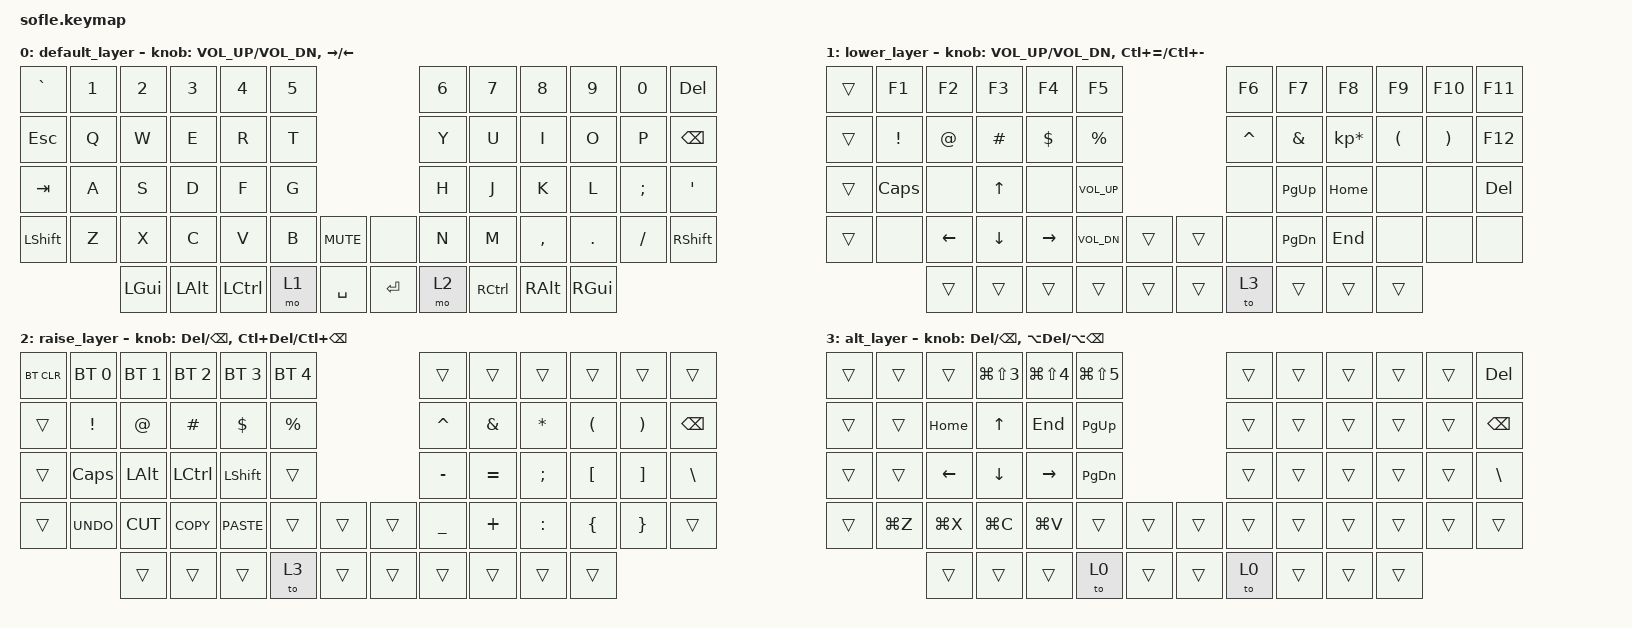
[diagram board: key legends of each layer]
/*
 * Copyright (c) 2020 The ZMK Contributors
 *
 * SPDX-License-Identifier: MIT
 *
 */

#include <behaviors.dtsi>
#include <dt-bindings/zmk/keys.h>
#include <dt-bindings/zmk/bt.h>

&left_encoder {
    resolution = <2>;
};

&right_encoder {
    resolution = <2>;
};

/ {
    keymap {
        compatible = "zmk,keymap";

        default_layer {
// ------------------------------------------------------------------------------------------------------------
// |  `    |  1  |  2  |  3   |  4   |  5   |                   |  6   |  7    |  8    |  9   |   0   | DEL   |
// |  ESC  |  Q  |  W  |  E   |  R   |  T   |                   |  Y   |  U    |  I    |  O   |   P   | BKSPC |
// |  TAB  |  A  |  S  |  D   |  F   |  G   |                   |  H   |  J    |  K    |  L   |   ;   |   '   |
// | SHIFT |  Z  |  X  |  C   |  V   |  B   |  MUTE  |  |       |  N   |  M    |  ,    |  .   |   /   | SHIFT |
//               | GUI | ALT  | CTRL | LOWER|  SPACE |  | ENTER | RAISE| CTRL  | ALT   | GUI  |
            bindings = <
&kp GRAVE &kp N1 &kp N2   &kp N3   &kp N4    &kp N5                      &kp N6 &kp N7    &kp N8    &kp N9   &kp N0   &kp DEL
&kp ESC   &kp Q  &kp W    &kp E    &kp R     &kp T                       &kp Y  &kp U     &kp I     &kp O    &kp P    &kp BSPC
&kp TAB   &kp A  &kp S    &kp D    &kp F     &kp G                       &kp H  &kp J     &kp K     &kp L    &kp SEMI &kp SQT
&kp LSHFT &kp Z  &kp X    &kp C    &kp V     &kp B  &kp C_MUTE &none     &kp N  &kp M     &kp COMMA &kp DOT  &kp FSLH &kp RSHFT
                 &kp LGUI &kp LALT &kp LCTRL &mo 1  &kp SPACE  &kp RET   &mo 2  &kp RCTRL &kp RALT  &kp RGUI
            >;

            sensor-bindings = <&inc_dec_kp C_VOL_UP C_VOL_DN &inc_dec_kp RIGHT LEFT>;
        };

        lower_layer {
// TODO: Some binds are waiting for shifted keycode support.
// ------------------------------------------------------------------------------------------------------------
// |       |  F1 |  F2 |  F3  |  F4  |    F5  |                   |  F6  |  F7   |  F8   |  F9  |  F10  |  F11  |
// |       |  !  |  @  |  #   |  $   |    %   |                   |  ^   |  &    |  *    |  (   |   )   |  F12  |
// |       | CAPS|     |  UP  |      | VOL_UP |                   |      |  PGUP | HOME  |      |       |  DEL  |
// |       |     | LEFT| DOWN | RIGHT| VOL_DN |  MUTE  |  |       |      |  PGDN | END   |      |       |       |
//               |     |      |      |        |        |  |       |      |       |       |      |
            bindings = <
&trans    &kp F1    &kp F2    &kp F3      &kp F4    &kp F5                        &kp F6    &kp F7      &kp F8          &kp F9    &kp F10   &kp F11
&trans    &kp EXCL  &kp AT    &kp HASH    &kp DLLR  &kp PRCNT                     &kp CARET &kp AMPS    &kp KP_MULTIPLY &kp LPAR  &kp RPAR  &kp F12
&trans    &kp CLCK  &none     &kp UP      &none     &kp C_VOL_UP                  &none     &kp PG_UP   &kp HOME        &none     &none     &kp DEL
&trans    &none     &kp LEFT  &kp DOWN    &kp RIGHT &kp C_VOL_DN  &trans   &trans &none     &kp PG_DN   &kp END         &none     &none     &none
                    &trans    &trans      &trans    &trans        &trans   &trans &to 3    &trans      &trans          &trans
            >;

            sensor-bindings = <&inc_dec_kp C_VOL_UP C_VOL_DN &inc_dec_kp LC(EQUAL) LC(MINUS)>;
        };

        raise_layer {
// ------------------------------------------------------------------------------------------------------------
// | BTCLR | BT1  | BT2  |  BT3  |  BT4  |  BT5 |                   |      |      |       |      |       |       |
// |       |   !  |   @  |   #   |   $   |   %  |                   |  ^   |  &   |   *   |  (   |   )   | BKSPC |
// |       | CAPS | ALT  | CTRL  | SHIFT |      |                   |  -   |  =   |   ;   |  [   |   ]   |   \   |
// |       | UNDO | CUT  | COPY  | PASTE |      |      |     |      |  _   |  +   |   :   |  {   |   }   |       |
//                |      |       |       |      |      |     |      |      |      |       |      |
            bindings = <
&bt BT_CLR &bt BT_SEL 0 &bt BT_SEL 1 &bt BT_SEL 2 &bt BT_SEL 3 &bt BT_SEL 4             &trans    &trans    &trans    &trans     &trans    &trans
&trans     &kp EXCL     &kp AT       &kp HASH     &kp DLLR     &kp PERCENT              &kp CARET &kp AMPS  &kp ASTRK &kp LPAR   &kp RPAR  &kp BSPC
&trans     &kp CLCK     &kp LALT     &kp LCTRL    &kp LSHFT    &trans                   &kp MINUS &kp EQUAL &kp SEMI  &kp LBKT   &kp RBKT  &kp BACKSLASH
&trans     &kp K_UNDO   &kp K_CUT    &kp K_COPY   &kp K_PASTE  &trans  &trans   &trans  &kp UNDER &kp PLUS  &kp COLON &kp LBRC   &kp RBRC  &trans
                        &trans       &trans       &trans       &to 3   &trans   &trans  &trans    &trans    &trans    &trans
            >;

            sensor-bindings = <&inc_dec_kp DEL BSPC &inc_dec_kp LC(DEL) LC(BSPC)>;
        };

        alt_layer {
// ------------------------------------------------------------------------------------------------------------
// |       |      |      |       |       |      |                   |      |      |       |      |       |  DEL  |
// |       |      | HOME |  UP   |  END  | PGUP |                   |      |      |       |      |       | BKSPC |
// |       |      | LEFT | DOWN  | RIGHT | PGDN |                   |      |      |       |      |       | BKSH  |
// |       |WIN(Z)|WIN(X)| WIN(C)| WIN(V)|      |      |     |      |      |      |       |      |       |       |
//                |      |       |       |      |      |     |      |      |      |       |      |
            bindings = <
&trans     &trans       &trans       &kp LG(LS(N3)) &kp LG(LS(N4)) &kp LG(LS(N5))                     &trans    &trans    &trans    &trans     &trans    &kp DEL
&trans     &trans       &kp HOME     &kp UP            &kp END           &kp PG_UP                    &trans    &trans    &trans    &trans     &trans    &kp BSPC
&trans     &trans       &kp LEFT     &kp DOWN          &kp RIGHT         &kp PG_DN                    &trans    &trans    &trans    &trans     &trans    &kp BSLH
&trans     &kp LG(Z)    &kp LG(X)    &kp LG(C)         &kp LG(V)         &trans  &trans       &trans  &trans    &trans    &trans    &trans     &trans    &trans
                        &trans       &trans            &trans            &to 0   &trans       &trans  &to 0     &trans    &trans    &trans
            >;

            sensor-bindings = <&inc_dec_kp DEL BSPC &inc_dec_kp LA(DEL) LA(BSPC)>;
        };
    };
};
